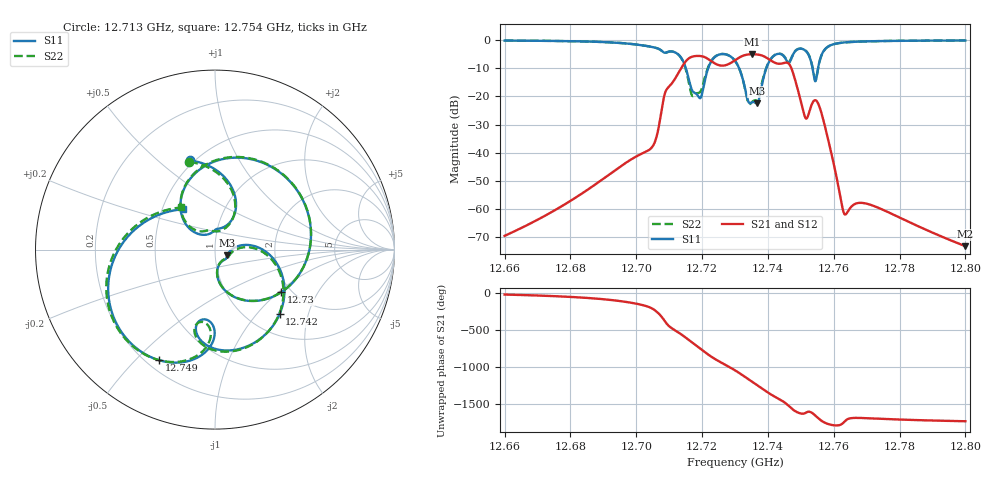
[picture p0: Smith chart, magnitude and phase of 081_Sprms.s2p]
! TOUCHSTONE file generated by CST MICROWAVE STUDIO
! Date and time: Wed Jul 31 14:48:42 2024
! Project name: WaveGuide_BPF-Ver4.1_U-shape_Ku_T3_C4_CWA_2.cst
! Parameters = {cavity_h=16; cavity_l0=10; cavity_l1=15.2235; cavity_l2=16.851; cavity_l3=17.0829; cavity_l4=17.262; cavity_l5=17.1251; cavity_l6=17.6036; cavity_r=2.5; cavity_screw_l=0.5; cavity_screw_r=1.5; cavity_w=8; iris_h00=0; iris_h01=8.8042; iris_h112=0; iris_h12=5.6123; iris_h211=3.6573; ir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
! Header version: 2018
! Port assignment regex: !\s*Touchstone port\s*([0-9]+)\s*=\s*(CST MWS port|CST DS port)\s*([0-9]+|Zmin|Zmax)\s*\(\"(.*)\"\)(\s*mode\s*([0-9]+))?.*
! Touchstone port assignment:
! Touchstone port 1 = CST MWS port 1 ("")
! Touchstone port 2 = CST MWS port 2 ("")
# GHz S RI R 50
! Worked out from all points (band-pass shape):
!   5001 points, 12.66 GHz to 12.8 GHz, reference 50 ohm
!   highest |S21| = -5.05 dB at 12.735 GHz (marker M1); lowest = -73.1 dB at 12.8 GHz (marker M2)
!   |S21| within 3 dB of the highest: 12.71471 GHz to 12.72352 GHz (8.811 MHz wide, 0.0693 % of centre); 12.72883 GHz to 12.74211 GHz (13.28 MHz wide, 0.104 % of centre) (the widest 2 of 3)
!   lowest |S11| = -22.5 dB at 12.737 GHz (marker M3), VSWR 1.16, Z = 57.2 - j3.54 ohm
!   |S11| at or under -10 dB: 12.71506 GHz to 12.72185 GHz (6.794 MHz wide, 0.0534 % of centre); 12.73126 GHz to 12.73952 GHz (8.262 MHz wide, 0.0649 % of centre); 12.75356 GHz to 12.75523 GHz (1.668 MHz wide, 0.0131 % of centre)
!   |S22| runs from -22.7 to -0.2 dB; largest |S21 - S12| = 1e-09
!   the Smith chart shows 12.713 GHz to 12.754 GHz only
!   S11 on the Smith chart (normalised r, x): 12.713 GHz: 0.48, +0.64; 12.73 GHz: 1.77, -1.05; 12.742 GHz: 1.38, -1.33; 12.749 GHz: 0.25, -0.59; 12.754 GHz: 0.64, +0.31
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12.66  0.3782 0.9021  0.0003 -0.000154  0.0003 -0.000154  0.3851 0.8992
12.68335  0.8277 0.4587  0.000717 -0.00173  0.000717 -0.00173  0.8321 0.4507
12.69674  0.7702 -0.4071  -0.00378 -0.0054  -0.00378 -0.0054  0.767 -0.4146
12.70668  -0.5119 -0.4807  0.00275 0.0257  0.00275 0.0257  -0.5097 -0.4843
12.71331  -0.1383 0.4965  -0.2883 0.054  -0.2883 0.054  -0.1437 0.4886
12.71625  0.0826 0.1513  0.1429 0.4631  0.1429 0.4631  0.0689 0.1296
12.71919  -0.0228 0.0914  0.4736 -0.2203  0.4736 -0.2203  -0.0546 0.1034
12.72376  0.00289 0.4929  -0.3786 -0.0854  -0.3786 -0.0854  0.00821 0.4992
12.72986  0.3687 -0.2379  0.3277 0.2814  0.3277 0.2814  0.3696 -0.2363
12.73  0.3474 -0.2505  0.3498 0.2626  0.3498 0.2626  0.3483 -0.249
12.73235  0.0344 -0.201  0.4516 -0.2675  0.4516 -0.2675  0.034 -0.1991
12.73526  0.0576 -0.0545  -0.2696 -0.4896  -0.2696 -0.4896  0.0641 -0.049
12.73658  0.0685 -0.0308  -0.5168 -0.2021  -0.5168 -0.2021  0.0815 -0.0298
12.74154  0.3605 -0.358  0.224 0.3446  0.224 0.3446  0.35 -0.3755
12.74607  -0.0776 -0.3919  0.1324 -0.3684  0.1324 -0.3684  -0.0882 -0.4053
12.74918  -0.3132 -0.6157  -0.1242 -0.0203  -0.1242 -0.0203  -0.3391 -0.6076
12.75335  -0.3042 0.1973  -0.0722 -0.00932  -0.0722 -0.00932  -0.3105 0.2076
12.75369  -0.1804 0.2245  -0.0796 0.00433  -0.0796 0.00433  -0.1875 0.2347
12.75596  0.3208 -0.3549  -0.000363 0.0584  -0.000363 0.0584  0.3217 -0.3428
12.76326  -0.616 -0.6647  0.000286 0.000767  0.000286 0.000767  -0.6211 -0.6596
12.77668  -0.9523 -0.1444  -0.000186 0.000859  -0.000186 0.000859  -0.9536 -0.1366
12.8  -0.9287 0.3209  6.15e-05 0.000212  6.15e-05 0.000212  -0.9266 0.3273
